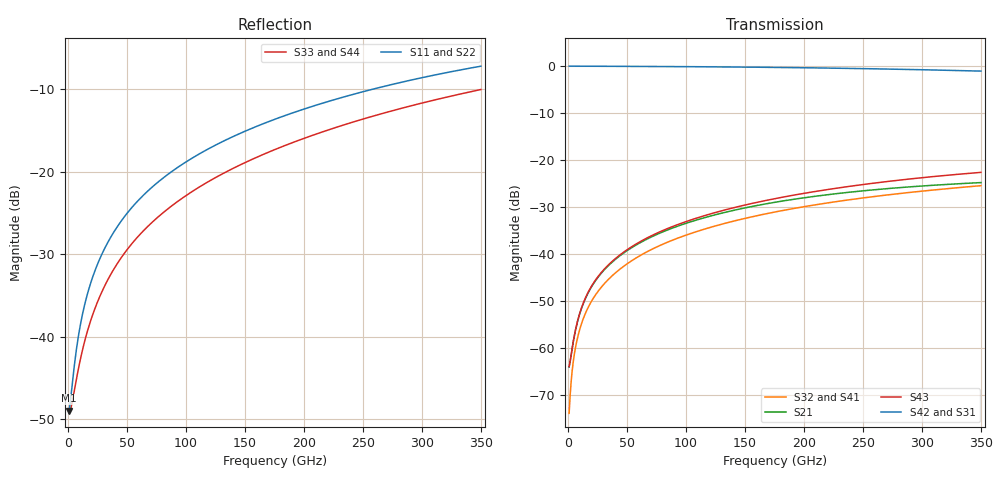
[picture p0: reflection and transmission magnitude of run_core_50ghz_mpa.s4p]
#  Hz  S  RI  R  50
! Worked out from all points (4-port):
!   400 points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, 875 MHz to 350 GHz, reference 50 ohm
!   strongest paths, dB at 875 MHz, 88.38 GHz, 175.9 GHz, 263.4 GHz, 350 GHz:
!     S42: 0.0, -0.1, -0.3, -0.6, -1.1
!     S31: 0.0, -0.1, -0.3, -0.6, -1.1
!     S43: -63.8, -34.1, -28.2, -24.8, -22.6
!     S21: -64.0, -34.4, -28.9, -26.2, -24.8
!     S32: -73.8, -37.0, -31.0, -27.6, -25.4
!     S41: -73.8, -37.0, -31.0, -27.6, -25.5
!   lowest |S11| = -48.9 dB at 875 MHz (marker M1), VSWR 1.01, Z = 50.3 - j0.0971 ohm
!   |S11| at or under -10 dB: start of sweep to 258 GHz
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8.75e8  0.00345 -0.000964  0.000601 0.000196  -0.9948 0.00252  0.000146 -0.000143
        0.000602 0.000196  0.00347 -0.000928  0.000146 -0.000144  -0.9948 0.00254
        -0.9948 0.00252  0.000147 -0.000142  0.00341 -0.000528  0.000611 0.000202
        0.000148 -0.000142  -0.9948 0.00255  0.00061 0.000202  0.00344 -0.000554
2.625e9  0.00342 -0.00289  0.000612 0.000588  -0.9948 0.00755  0.000141 -0.00043
         0.000613 0.000588  0.00344 -0.00279  0.000141 -0.000431  -0.9947 0.00762
         -0.9948 0.00757  0.000142 -0.000425  0.00342 -0.00159  0.000615 0.000605
         0.000142 -0.000425  -0.9947 0.00763  0.000614 0.000605  0.00345 -0.00166
6.125e9  0.00325 -0.00675  0.000665 0.00137  -0.9945 0.0176  0.000115 -0.001
         0.000666 0.00137  0.00328 -0.0065  0.000116 -0.001  -0.9945 0.0178
         -0.9945 0.0176  0.000117 -0.00099  0.00349 -0.00371  0.000635 0.00141
         0.000117 -0.00099  -0.9945 0.0178  0.000634 0.00141  0.00352 -0.00388
1.575e10  0.00206 -0.0174  0.00102 0.00347  -0.9929 0.0449  -5.6e-05 -0.00256
          0.00102 0.00347  0.00217 -0.0168  -5.2e-05 -0.00256  -0.9929 0.0453
          -0.9928 0.045  -4.87e-05 -0.00252  0.00395 -0.00967  0.000761 0.00359
          -5.26e-05 -0.00252  -0.9928 0.0454  0.00076 0.00359  0.00397 -0.0101
6.3e10  -0.0216 -0.0678  0.00589 0.0123  -0.9748 0.1734  -0.00259 -0.00979
        0.00589 0.0123  -0.0203 -0.0656  -0.00253 -0.00982  -0.9744 0.1751
        -0.9735 0.1734  -0.0025 -0.00968  0.00747 -0.0426  0.00203 0.0139
        -0.00256 -0.00965  -0.9732 0.175  0.00203 0.0139  0.00729 -0.0445
1.72375e11  -0.1712 -0.1117  0.031 0.0165  -0.8675 0.4499  -0.0195 -0.0204
            0.031 0.0165  -0.1635 -0.1103  -0.0192 -0.0208  -0.8646 0.4537
            -0.8571 0.445  -0.0188 -0.0203  0.0103 -0.1334  0.0104 0.0368
            -0.0191 -0.0199  -0.8557 0.449  0.0104 0.0369  0.00859 -0.1382
3.5e11  -0.4068 0.1585  0.0476 -0.0328  -0.522 0.7676  -0.0564 0.00143
        0.0475 -0.0328  -0.3974 0.1437  -0.0571 -0.000321  -0.5135 0.7696
        -0.5036 0.7197  -0.0535 -0.000824  -0.0373 -0.313  0.0399 0.0619
        -0.0532 0.00098  -0.4987 0.7273  0.0403 0.0622  -0.0446 -0.3204
